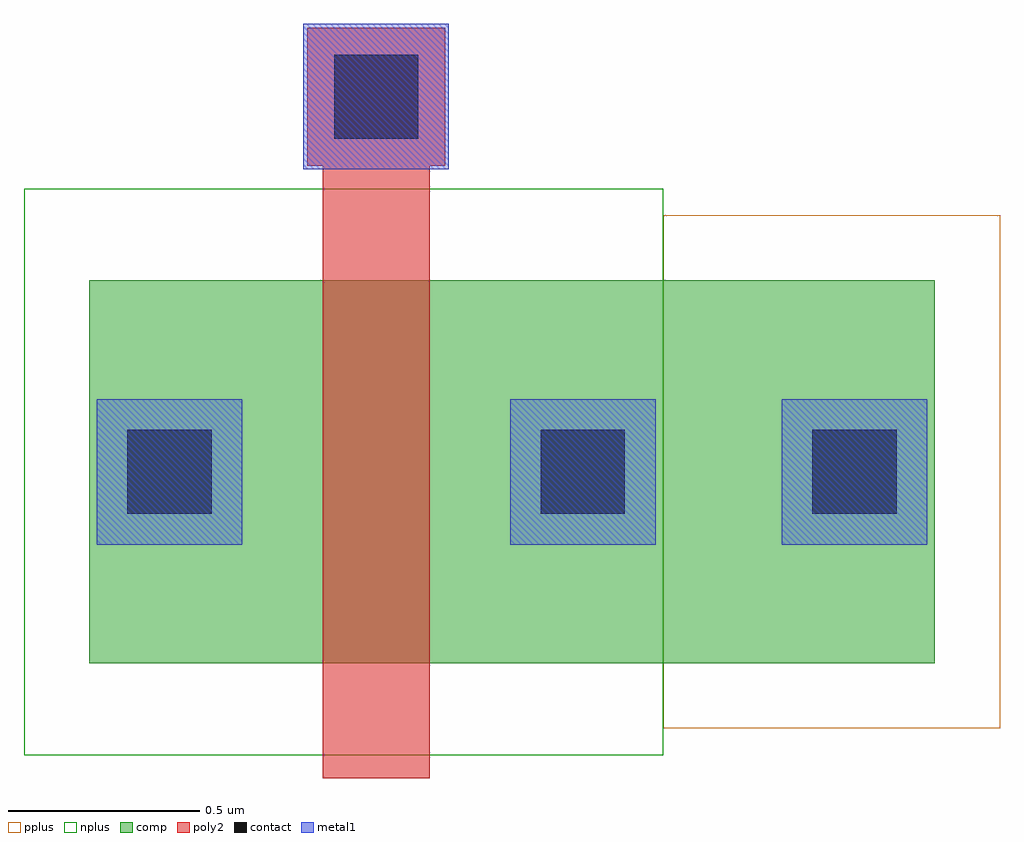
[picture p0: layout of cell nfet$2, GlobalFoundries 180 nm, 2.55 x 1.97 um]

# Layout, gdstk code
import gdstk
lib = gdstk.Library(unit=1e-6, precision=5e-09)
def R(c, l, rs):  # rectangles x0, y0, x1, y1
    for r in rs: c.add(gdstk.rectangle(r[:2], r[2:], *l))
comp = (22, 0)
poly2 = (30, 0)
pplus = (31, 0)
nplus = (32, 0)
contact = (33, 0)
metal1 = (34, 0)

nfet_2 = lib.new_cell('nfet$2')
R(nfet_2, comp, [(-0.42,0,0,1), (0,0,0.66,1), (0.66,0,1.08,1), (1.08,0,1.79,1)])
R(nfet_2, poly2, [(0.19,-0.3,0.47,1.3), (0.15,1.3,0.51,1.66)])
R(nfet_2, pplus, [(1.08,-0.17,1.96,1.17)])
R(nfet_2, nplus, [(-0.59,-0.24,1.08,1.24)])
R(nfet_2, contact, [(-0.32,0.39,-0.1,0.61), (0.76,0.39,0.98,0.61), (1.47,0.39,1.69,0.61), (0.22,1.37,0.44,1.59)])
R(nfet_2, metal1, [(-0.4,0.31,-0.02,0.69), (0.68,0.31,1.06,0.69), (1.39,0.31,1.77,0.69), (0.14,1.29,0.52,1.67)])

lib.write_gds('nfet_2.gds')
